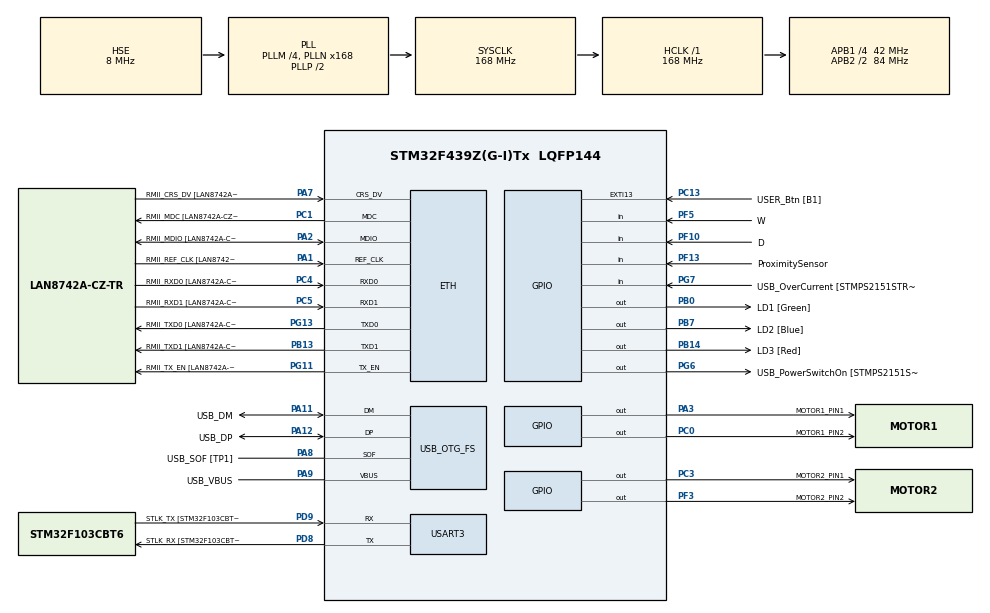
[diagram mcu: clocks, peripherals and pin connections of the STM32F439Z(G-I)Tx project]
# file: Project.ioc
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ETH.MediaInterface=HAL_ETH_RMII_MODE
ETH.PHY_Name=LAN8742A_PHY_ADDRESS
ETH.PHY_Value=0
ETH.PhyAddress=0
Mcu.Family=STM32F4
Mcu.Name=STM32F439Z(G-I)Tx
Mcu.Package=LQFP144
NVIC.PriorityGroup=NVIC_PRIORITYGROUP_4
PA1.GPIO_Label=RMII_REF_CLK [LAN8742A-CZ-TR_REFCLK0]
PA1.Mode=RMII
PA1.Signal=ETH_REF_CLK
PA10.GPIO_Label=USB_ID
PA10.Signal=USB_OTG_FS_ID
PA11.GPIO_Label=USB_DM
PA11.Mode=Device_Only
PA11.Signal=USB_OTG_FS_DM
PA12.GPIO_Label=USB_DP
PA12.Mode=Device_Only
PA12.Signal=USB_OTG_FS_DP
PA13.GPIO_Label=TMS
PA13.Mode=Serial_Wire
PA13.Signal=SYS_JTMS-SWDIO
PA14.GPIO_Label=TCK
PA14.Mode=Serial_Wire
PA14.Signal=SYS_JTCK-SWCLK
PA2.GPIO_Label=RMII_MDIO [LAN8742A-CZ-TR_MDIO]
PA2.Mode=RMII
PA2.Signal=ETH_MDIO
PA3.GPIO_Label=MOTOR1_PIN1
PA3.Signal=GPIO_Output
PA7.GPIO_Label=RMII_CRS_DV [LAN8742A-CZ-TR_CRS_DV]
PA7.Mode=RMII
PA7.Signal=ETH_CRS_DV
PA8.GPIO_Label=USB_SOF [TP1]
PA8.Mode=Activate_SOF_FS
PA8.Signal=USB_OTG_FS_SOF
PA9.GPIO_Label=USB_VBUS
PA9.Mode=Activate_VBUS
PA9.Signal=USB_OTG_FS_VBUS
PB0.GPIO_Label=LD1 [Green]
PB0.Signal=GPIO_Output
PB13.GPIO_Label=RMII_TXD1 [LAN8742A-CZ-TR_TXD1]
PB13.Mode=RMII
PB13.Signal=ETH_TXD1
PB14.GPIO_Label=LD3 [Red]
PB14.Signal=GPIO_Output
PB7.GPIO_Label=LD2 [Blue]
PB7.Signal=GPIO_Output
PC0.GPIO_Label=MOTOR1_PIN2
PC0.Signal=GPIO_Output
PC1.GPIO_Label=RMII_MDC [LAN8742A-CZ-TR_MDC]
PC1.Mode=RMII
PC1.Signal=ETH_MDC
PC13.GPIO_Label=USER_Btn [B1]
PC13.Signal=GPXTI13
PC14/OSC32_IN.Mode=LSE-External-Oscillator
PC14/OSC32_IN.Signal=RCC_OSC32_IN
PC15/OSC32_OUT.Mode=LSE-External-Oscillator
PC15/OSC32_OUT.Signal=RCC_OSC32_OUT
PC3.GPIO_Label=MOTOR2_PIN1
PC3.Signal=GPIO_Output
PC4.GPIO_Label=RMII_RXD0 [LAN8742A-CZ-TR_RXD0]
PC4.Mode=RMII
PC4.Signal=ETH_RXD0
PC5.GPIO_Label=RMII_RXD1 [LAN8742A-CZ-TR_RXD1]
PC5.Mode=RMII
PC5.Signal=ETH_RXD1
PD8.GPIO_Label=STLK_RX [STM32F103CBT6_PA3]
PD8.Mode=Asynchronous
PD8.Signal=USART3_TX
PD9.GPIO_Label=STLK_TX [STM32F103CBT6_PA2]
PD9.Mode=Asynchronous
PD9.Signal=USART3_RX
PF10.GPIO_Label=D
PF10.Signal=GPIO_Input
PF13.GPIO_Label=ProximitySensor
PF13.Signal=GPIO_Input
PF3.GPIO_Label=MOTOR2_PIN2
PF3.Signal=GPIO_Output
PF5.GPIO_Label=W
PF5.Signal=GPIO_Input
PG11.GPIO_Label=RMII_TX_EN [LAN8742A-CZ-TR_TXEN]
PG11.Mode=RMII
PG11.Signal=ETH_TX_EN
PG13.GPIO_Label=RMII_TXD0 [LAN8742A-CZ-TR_TXD0]
PG13.Mode=RMII
PG13.Signal=ETH_TXD0
PG6.GPIO_Label=USB_PowerSwitchOn [STMPS2151STR_EN]
PG6.Signal=GPIO_Output
PG7.GPIO_Label=USB_OverCurrent [STMPS2151STR_FAULT]
PG7.Signal=GPIO_Input
PH0/OSC_IN.GPIO_Label=MCO [STM32F103CBT6_PA8]
PH0/OSC_IN.Mode=HSE-External-Clock-Source
PH0/OSC_IN.Signal=RCC_OSC_IN
PH1/OSC_OUT.Mode=HSE-External-Clock-Source
PH1/OSC_OUT.Signal=RCC_OSC_OUT
ProjectManager.HeapSize=0x200
ProjectManager.StackSize=0x400
ProjectManager.TargetToolchain=STM32CubeIDE
RCC.48MHZClocksFreq_Value=48000000
RCC.AHBFreq_Value=168000000
RCC.APB1CLKDivider=RCC_HCLK_DIV4
RCC.APB1Freq_Value=42000000
RCC.APB1TimFreq_Value=84000000
RCC.APB2CLKDivider=RCC_HCLK_DIV2
RCC.APB2Freq_Value=84000000
RCC.APB2TimCLKDivider=2
RCC.APB2TimFreq_Value=168000000
RCC.CortexFreq_Value=168000000
RCC.HCLKFreq_Value=168000000
RCC.HSE_VALUE=8000000
RCC.HSI_VALUE=16000000
RCC.PLLM=4
RCC.PLLMUL=RCC_PLL_MUL9
RCC.PLLN=168
RCC.PLLQ=7
RCC.PRESCALERUSB=RCC_USBCLKSOURCE_PLL_DIV1_5
RCC.SYSCLKFreq_VALUE=168000000
RCC.SYSCLKSource=RCC_SYSCLKSOURCE_PLLCLK
RCC.SYSCLKSourceVirtual=RCC_SYSCLKSOURCE_PLLCLK
RCC.USBFreq_Value=48000000
RCC.VCOOutputFreq_Value=336000000
USART3.VirtualMode=VM_ASYNC
USB_OTG_FS.VirtualMode=Device_Only
board=NUCLEO-F439ZI

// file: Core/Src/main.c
/* USER CODE BEGIN Header */
/**
  ******************************************************************************
  * @file           : main.c
  * @brief          : Main program body
  ******************************************************************************
  * @attention
  *
  * Copyright (c) 2023 STMicroelectronics.
  * All rights reserved.
  *
  * This software is licensed under terms that can be found in the LICENSE file
  * in the root directory of this software component.
  * If no LICENSE file comes with this software, it is provided AS-IS.
  *
  ******************************************************************************
  */
/* USER CODE END Header */
#include "main.h"
#include "string.h"

ETH_TxPacketConfig TxConfig;
ETH_DMADescTypeDef  DMARxDscrTab[ETH_RX_DESC_CNT]; /* Ethernet Rx DMA Descriptors */
ETH_DMADescTypeDef  DMATxDscrTab[ETH_TX_DESC_CNT]; /* Ethernet Tx DMA Descriptors */

ETH_HandleTypeDef heth;

UART_HandleTypeDef huart3;

PCD_HandleTypeDef hpcd_USB_OTG_FS;

void SystemClock_Config(void);
static void MX_GPIO_Init(void);
static void MX_ETH_Init(void);
static void MX_USART3_UART_Init(void);
static void MX_USB_OTG_FS_PCD_Init(void);

/* USER CODE BEGIN 0 */
void Stop(void)
{
    // Stop both motors
    HAL_GPIO_WritePin(GPIOA, MOTOR1_PIN1_Pin, GPIO_PIN_RESET);
    HAL_GPIO_WritePin(GPIOC, MOTOR1_PIN2_Pin, GPIO_PIN_RESET);
    HAL_GPIO_WritePin(GPIOC, MOTOR2_PIN1_Pin, GPIO_PIN_RESET);
    HAL_GPIO_WritePin(GPIOF, MOTOR2_PIN2_Pin, GPIO_PIN_RESET);
}

void MoveForward(void)
{
    // Move forward
    HAL_GPIO_WritePin(GPIOA, MOTOR1_PIN1_Pin, GPIO_PIN_SET);
    HAL_GPIO_WritePin(GPIOC, MOTOR1_PIN2_Pin, GPIO_PIN_RESET);
    HAL_GPIO_WritePin(GPIOC, MOTOR2_PIN1_Pin, GPIO_PIN_SET);
    HAL_GPIO_WritePin(GPIOF, MOTOR2_PIN2_Pin, GPIO_PIN_RESET);
}

void MoveBackward(void)
{
    // Move backward
    HAL_GPIO_WritePin(GPIOA, MOTOR1_PIN1_Pin, GPIO_PIN_RESET);
    HAL_GPIO_WritePin(GPIOC, MOTOR1_PIN2_Pin, GPIO_PIN_SET);
    HAL_GPIO_WritePin(GPIOC, MOTOR2_PIN1_Pin, GPIO_PIN_RESET);
    HAL_GPIO_WritePin(GPIOF, MOTOR2_PIN2_Pin, GPIO_PIN_SET);
}

void TurnRight(void)
{
    // Turn right
    HAL_GPIO_WritePin(GPIOA, MOTOR1_PIN1_Pin, GPIO_PIN_RESET);
    HAL_GPIO_WritePin(GPIOC, MOTOR1_PIN2_Pin, GPIO_PIN_SET);
    HAL_GPIO_WritePin(GPIOC, MOTOR2_PIN1_Pin, GPIO_PIN_SET);
    HAL_GPIO_WritePin(GPIOF, MOTOR2_PIN2_Pin, GPIO_PIN_RESET);
}

void TurnLeft(void)
{
    // Turn left
    HAL_GPIO_WritePin(GPIOA, MOTOR1_PIN1_Pin, GPIO_PIN_SET);
    HAL_GPIO_WritePin(GPIOC, MOTOR1_PIN2_Pin, GPIO_PIN_RESET);
    HAL_GPIO_WritePin(GPIOC, MOTOR2_PIN1_Pin, GPIO_PIN_RESET);
    HAL_GPIO_WritePin(GPIOF, MOTOR2_PIN2_Pin, GPIO_PIN_SET);
}

/* USER CODE END 0 */

int main(void)
{

  /* MCU Configuration--------------------------------------------------------*/

  /* Reset of all peripherals, Initializes the Flash interface and the Systick. */
  HAL_Init();

  /* Configure the system clock */
  SystemClock_Config();

  /* Initialize all configured peripherals */
  MX_GPIO_Init();
  MX_ETH_Init();
  MX_USART3_UART_Init();
  MX_USB_OTG_FS_PCD_Init();

  /* Infinite loop */
  /* USER CODE BEGIN WHILE */
  int flag = -1;
  while (1)
  {
    /* USER CODE END WHILE */

    /* USER CODE BEGIN 3 */

	  while(HAL_GPIO_ReadPin(GPIOF, ProximitySensor_Pin) == 0 || flag == 1){
		  flag=-1;
		  if (HAL_GPIO_ReadPin(GPIOF, W_Pin) == 0 && HAL_GPIO_ReadPin(GPIOF, D_Pin) == 0){
			  MoveForward();
		  }
		  else if (HAL_GPIO_ReadPin(GPIOF, W_Pin) == 0 && HAL_GPIO_ReadPin(GPIOF, D_Pin) == 1){
			  TurnLeft();
		  }

		  else if (HAL_GPIO_ReadPin(GPIOF, W_Pin) == 1 && HAL_GPIO_ReadPin(GPIOF, D_Pin) == 0){
			  TurnRight();
		  }
		  else if (HAL_GPIO_ReadPin(GPIOF, W_Pin) == 1 && HAL_GPIO_ReadPin(GPIOF, D_Pin) == 1){
			  MoveBackward();
		  }
	  }

	  Stop();
	  HAL_Delay(3000);
	  flag = 1;

  }
  /* USER CODE END 3 */
}

void SystemClock_Config(void)
{
  RCC_OscInitTypeDef RCC_OscInitStruct = {0};
  RCC_ClkInitTypeDef RCC_ClkInitStruct = {0};

  /** Configure the main internal regulator output voltage
  */
  __HAL_RCC_PWR_CLK_ENABLE();
  __HAL_PWR_VOLTAGESCALING_CONFIG(PWR_REGULATOR_VOLTAGE_SCALE1);

  /** Initializes the RCC Oscillators according to the specified parameters
  * in the RCC_OscInitTypeDef structure.
  */
  RCC_OscInitStruct.OscillatorType = RCC_OSCILLATORTYPE_HSE;
  RCC_OscInitStruct.HSEState = RCC_HSE_BYPASS;
  RCC_OscInitStruct.PLL.PLLState = RCC_PLL_ON;
  RCC_OscInitStruct.PLL.PLLSource = RCC_PLLSOURCE_HSE;
  RCC_OscInitStruct.PLL.PLLM = 4;
  RCC_OscInitStruct.PLL.PLLN = 168;
  RCC_OscInitStruct.PLL.PLLP = RCC_PLLP_DIV2;
  RCC_OscInitStruct.PLL.PLLQ = 7;
  if (HAL_RCC_OscConfig(&RCC_OscInitStruct) != HAL_OK)
  {
    Error_Handler();
  }

  /** Initializes the CPU, AHB and APB buses clocks
  */
  RCC_ClkInitStruct.ClockType = RCC_CLOCKTYPE_HCLK|RCC_CLOCKTYPE_SYSCLK
                              |RCC_CLOCKTYPE_PCLK1|RCC_CLOCKTYPE_PCLK2;
  RCC_ClkInitStruct.SYSCLKSource = RCC_SYSCLKSOURCE_PLLCLK;
  RCC_ClkInitStruct.AHBCLKDivider = RCC_SYSCLK_DIV1;
  RCC_ClkInitStruct.APB1CLKDivider = RCC_HCLK_DIV4;
  RCC_ClkInitStruct.APB2CLKDivider = RCC_HCLK_DIV2;

  if (HAL_RCC_ClockConfig(&RCC_ClkInitStruct, FLASH_LATENCY_5) != HAL_OK)
  {
    Error_Handler();
  }
}

static void MX_ETH_Init(void)
{

   static uint8_t MACAddr[6];

  heth.Instance = ETH;
  MACAddr[0] = 0x00;
  MACAddr[1] = 0x80;
  MACAddr[2] = 0xE1;
  MACAddr[3] = 0x00;
  MACAddr[4] = 0x00;
  MACAddr[5] = 0x00;
  heth.Init.MACAddr = &MACAddr[0];
  heth.Init.MediaInterface = HAL_ETH_RMII_MODE;
  heth.Init.TxDesc = DMATxDscrTab;
  heth.Init.RxDesc = DMARxDscrTab;
  heth.Init.RxBuffLen = 1524;

  if (HAL_ETH_Init(&heth) != HAL_OK)
  {
    Error_Handler();
  }

  memset(&TxConfig, 0 , sizeof(ETH_TxPacketConfig));
  TxConfig.Attributes = ETH_TX_PACKETS_FEATURES_CSUM | ETH_TX_PACKETS_FEATURES_CRCPAD;
  TxConfig.ChecksumCtrl = ETH_CHECKSUM_IPHDR_PAYLOAD_INSERT_PHDR_CALC;
  TxConfig.CRCPadCtrl = ETH_CRC_PAD_INSERT;

}

static void MX_USART3_UART_Init(void)
{

  huart3.Instance = USART3;
  huart3.Init.BaudRate = 115200;
  huart3.Init.WordLength = UART_WORDLENGTH_8B;
  huart3.Init.StopBits = UART_STOPBITS_1;
  huart3.Init.Parity = UART_PARITY_NONE;
  huart3.Init.Mode = UART_MODE_TX_RX;
  huart3.Init.HwFlowCtl = UART_HWCONTROL_NONE;
  huart3.Init.OverSampling = UART_OVERSAMPLING_16;
  if (HAL_UART_Init(&huart3) != HAL_OK)
  {
    Error_Handler();
  }

}

static void MX_USB_OTG_FS_PCD_Init(void)
{

  hpcd_USB_OTG_FS.Instance = USB_OTG_FS;
  hpcd_USB_OTG_FS.Init.dev_endpoints = 4;
  hpcd_USB_OTG_FS.Init.speed = PCD_SPEED_FULL;
  hpcd_USB_OTG_FS.Init.dma_enable = DISABLE;
  hpcd_USB_OTG_FS.Init.phy_itface = PCD_PHY_EMBEDDED;
  hpcd_USB_OTG_FS.Init.Sof_enable = ENABLE;
  hpcd_USB_OTG_FS.Init.low_power_enable = DISABLE;
  hpcd_USB_OTG_FS.Init.lpm_enable = DISABLE;
  hpcd_USB_OTG_FS.Init.vbus_sensing_enable = ENABLE;
  hpcd_USB_OTG_FS.Init.use_dedicated_ep1 = DISABLE;
  if (HAL_PCD_Init(&hpcd_USB_OTG_FS) != HAL_OK)
  {
    Error_Handler();
  }

}

static void MX_GPIO_Init(void)
{
  GPIO_InitTypeDef GPIO_InitStruct = {0};

  /* GPIO Ports Clock Enable */
  __HAL_RCC_GPIOC_CLK_ENABLE();
  __HAL_RCC_GPIOF_CLK_ENABLE();
  __HAL_RCC_GPIOH_CLK_ENABLE();
  __HAL_RCC_GPIOA_CLK_ENABLE();
  __HAL_RCC_GPIOB_CLK_ENABLE();
  __HAL_RCC_GPIOD_CLK_ENABLE();
  __HAL_RCC_GPIOG_CLK_ENABLE();

  /*Configure GPIO pin Output Level */
  HAL_GPIO_WritePin(MOTOR2_PIN2_GPIO_Port, MOTOR2_PIN2_Pin, GPIO_PIN_RESET);

  /*Configure GPIO pin Output Level */
  HAL_GPIO_WritePin(GPIOC, MOTOR1_PIN2_Pin|MOTOR2_PIN1_Pin, GPIO_PIN_RESET);

  /*Configure GPIO pin Output Level */
  HAL_GPIO_WritePin(MOTOR1_PIN1_GPIO_Port, MOTOR1_PIN1_Pin, GPIO_PIN_RESET);

  /*Configure GPIO pin Output Level */
  HAL_GPIO_WritePin(GPIOB, LD1_Pin|LD3_Pin|LD2_Pin, GPIO_PIN_RESET);

  /*Configure GPIO pin Output Level */
  HAL_GPIO_WritePin(USB_PowerSwitchOn_GPIO_Port, USB_PowerSwitchOn_Pin, GPIO_PIN_RESET);

  /*Configure GPIO pin : USER_Btn_Pin */
  GPIO_InitStruct.Pin = USER_Btn_Pin;
  GPIO_InitStruct.Mode = GPIO_MODE_IT_RISING;
  GPIO_InitStruct.Pull = GPIO_NOPULL;
  HAL_GPIO_Init(USER_Btn_GPIO_Port, &GPIO_InitStruct);

  /*Configure GPIO pin : MOTOR2_PIN2_Pin */
  GPIO_InitStruct.Pin = MOTOR2_PIN2_Pin;
  GPIO_InitStruct.Mode = GPIO_MODE_OUTPUT_PP;
  GPIO_InitStruct.Pull = GPIO_NOPULL;
  GPIO_InitStruct.Speed = GPIO_SPEED_FREQ_LOW;
  HAL_GPIO_Init(MOTOR2_PIN2_GPIO_Port, &GPIO_InitStruct);

  /*Configure GPIO pins : W_Pin D_Pin ProximitySensor_Pin */
  GPIO_InitStruct.Pin = W_Pin|D_Pin|ProximitySensor_Pin;
  GPIO_InitStruct.Mode = GPIO_MODE_INPUT;
  GPIO_InitStruct.Pull = GPIO_NOPULL;
  HAL_GPIO_Init(GPIOF, &GPIO_InitStruct);

  /*Configure GPIO pins : MOTOR1_PIN2_Pin MOTOR2_PIN1_Pin */
  GPIO_InitStruct.Pin = MOTOR1_PIN2_Pin|MOTOR2_PIN1_Pin;
  GPIO_InitStruct.Mode = GPIO_MODE_OUTPUT_PP;
  GPIO_InitStruct.Pull = GPIO_NOPULL;
  GPIO_InitStruct.Speed = GPIO_SPEED_FREQ_LOW;
  HAL_GPIO_Init(GPIOC, &GPIO_InitStruct);

  /*Configure GPIO pin : MOTOR1_PIN1_Pin */
  GPIO_InitStruct.Pin = MOTOR1_PIN1_Pin;
  GPIO_InitStruct.Mode = GPIO_MODE_OUTPUT_PP;
  GPIO_InitStruct.Pull = GPIO_NOPULL;
  GPIO_InitStruct.Speed = GPIO_SPEED_FREQ_LOW;
  HAL_GPIO_Init(MOTOR1_PIN1_GPIO_Port, &GPIO_InitStruct);

  /*Configure GPIO pins : LD1_Pin LD3_Pin LD2_Pin */
  GPIO_InitStruct.Pin = LD1_Pin|LD3_Pin|LD2_Pin;
  GPIO_InitStruct.Mode = GPIO_MODE_OUTPUT_PP;
  GPIO_InitStruct.Pull = GPIO_NOPULL;
  GPIO_InitStruct.Speed = GPIO_SPEED_FREQ_LOW;
  HAL_GPIO_Init(GPIOB, &GPIO_InitStruct);

  /*Configure GPIO pin : USB_PowerSwitchOn_Pin */
  GPIO_InitStruct.Pin = USB_PowerSwitchOn_Pin;
  GPIO_InitStruct.Mode = GPIO_MODE_OUTPUT_PP;
  GPIO_InitStruct.Pull = GPIO_NOPULL;
  GPIO_InitStruct.Speed = GPIO_SPEED_FREQ_LOW;
  HAL_GPIO_Init(USB_PowerSwitchOn_GPIO_Port, &GPIO_InitStruct);

  /*Configure GPIO pin : USB_OverCurrent_Pin */
  GPIO_InitStruct.Pin = USB_OverCurrent_Pin;
  GPIO_InitStruct.Mode = GPIO_MODE_INPUT;
  GPIO_InitStruct.Pull = GPIO_NOPULL;
  HAL_GPIO_Init(USB_OverCurrent_GPIO_Port, &GPIO_InitStruct);

}

void Error_Handler(void)
{
  __disable_irq();
  while (1)
  {
  }
}
